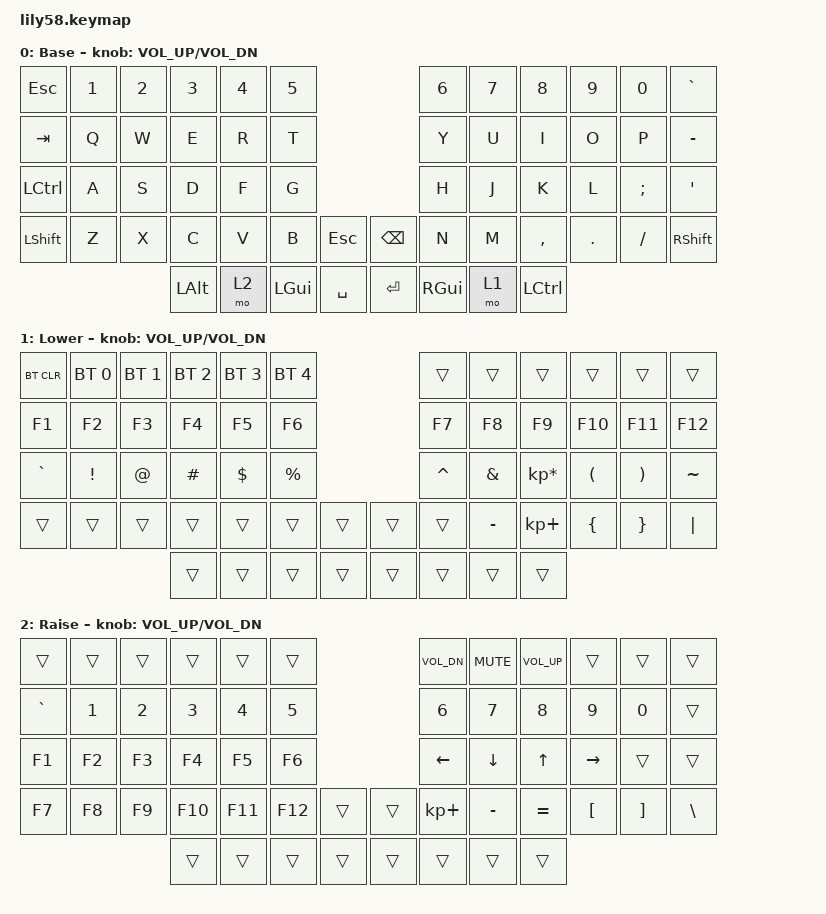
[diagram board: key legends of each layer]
#include <behaviors.dtsi>
#include <dt-bindings/zmk/keys.h>
#include <dt-bindings/zmk/bt.h>
#include <dt-bindings/zmk/ext_power.h> 

/ {
    keymap {
        compatible = "zmk,keymap";

        default_layer {
// ------------------------------------------------------------------------------------------------------------
// |  ESC  |  1  |  2  |  3   |  4   |  5   |                   |  6   |  7    |  8    |  9   |   0   |   `   |
// |  TAB  |  Q  |  W  |  E   |  R   |  T   |                   |  Y   |  U    |  I    |  O   |   P   |   -   |
// |  CTRL |  A  |  S  |  D   |  F   |  G   |                   |  H   |  J    |  K    |  L   |   ;   |   '   |
// | SHIFT |  Z  |  X  |  C   |  V   |  B   |   ESC  |  |  BSPC  |  N   |  M    |  ,    |  .   |   /   | SHIFT |
//                     | ALT  | RAISW  | GUI|  SPACE |  | ENTER | GUI| LOWER  | LCTRL  |
            display-name = "Base";
            bindings = <
&kp ESC   &kp N1 &kp N2 &kp N3   &kp N4   &kp N5                     &kp N6 &kp N7   &kp N8    &kp N9  &kp N0   &kp GRAVE
&kp TAB   &kp Q  &kp W  &kp E    &kp R    &kp T                      &kp Y  &kp U    &kp I     &kp O   &kp P    &kp MINUS
&kp LCTRL &kp A  &kp S  &kp D    &kp F    &kp G                      &kp H  &kp J    &kp K     &kp L   &kp SEMI &kp SQT
&kp LSHFT &kp Z  &kp X  &kp C    &kp V    &kp B  &kp ESC   &kp BSPC &kp N  &kp M    &kp COMMA &kp DOT &kp FSLH &kp RSHFT
                     &kp LALT &mo 2    &kp LGUI  &kp SPACE  &kp RET  &kp RGUI  &mo 1 &kp LCTL
            >;

            sensor-bindings = <&inc_dec_kp C_VOL_UP C_VOL_DN>;
        };

        lower_layer {
// ------------------------------------------------------------------------------------------------------------
// | BTCLR | BT1 | BT2 |  BT3 |  BT4 |  BT5 |                   |      |       |       |      |       |       |
// |  F1   |  F2 |  F3 |  F4  |  F5  |  F6  |                   |  F7  |  F8   |  F9   |  F10 |  F11  |  F12  |
// |   `   |  !  |  @  |  #   |  $   |  %   |                   |  ^   |  &    |  *    |  (   |   )   |   ~   |
// |       |     |     |      |      |      |        |  |       |      |  _    |  +    |  {   |   }   |  "|"  |
//                     |      |      |      |        |  |       |      |       |       |
            display-name = "Lower";
            bindings = <
&bt BT_CLR &bt BT_SEL 0     &bt BT_SEL 1      &bt BT_SEL 2      &bt BT_SEL 3 &bt BT_SEL 4                 &trans    &trans    &trans          &trans    &trans    &trans
&kp F1     &kp F2           &kp F3            &kp F4            &kp F5       &kp F6                       &kp F7    &kp F8    &kp F9          &kp F10   &kp F11   &kp F12
&kp GRAVE  &kp EXCL         &kp AT            &kp HASH          &kp DOLLAR   &kp PRCNT                    &kp CARET &kp AMPS  &kp KP_MULTIPLY &kp LPAR  &kp RPAR  &kp TILDE
&trans     &trans           &trans            &trans            &trans       &trans    &trans   &trans    &trans    &kp MINUS &kp KP_PLUS     &kp LBRC  &kp RBRC  &kp PIPE
                                              &trans            &trans       &trans    &trans   &trans    &trans    &trans    &trans
            >;

            sensor-bindings = <&inc_dec_kp C_VOL_UP C_VOL_DN>;
        };

        raise_layer {
// ------------------------------------------------------------------------------------------------------------
// |       |     |     |      |      |      |                   | vol- |  mute | vol + |      |       |       |
// |   `   |  1  |  2  |  3   |  4   |  5   |                   |  6   |   7   |   8   |  9   |   0   |       |
// |   F1  |  F2 |  F3 |  F4  |  F5  |  F6  |                   |  <   |   V   |   ^   |  >   |       |       |
// |   F7  |  F8 |  F9 |  F10 |  F11 |  F12 |        |  |       |  +   |   -   |   =   |  [   |   ]   |   \   |
//                     |      |      |      |        |  |       |      |       |       |
            display-name = "Raise";
            bindings = <
&trans    &trans &trans &trans  &trans  &trans                       &kp C_VOL_DN &kp K_MUTE &kp C_VOL_UP &trans    &trans &trans
&kp GRAVE &kp N1 &kp N2 &kp N3  &kp N4  &kp N5                       &kp N6       &kp N7     &kp N8       &kp N9    &kp N0 &trans
&kp F1    &kp F2 &kp F3 &kp F4  &kp F5  &kp F6                       &kp LEFT     &kp DOWN   &kp UP       &kp RIGHT &trans &trans
&kp F7    &kp F8 &kp F9 &kp F10 &kp F11 &kp F12   &trans   &trans    &kp KP_PLUS &kp MINUS  &kp EQUAL &kp LBKT  &kp RBKT  &kp BSLH
                        &trans  &trans  &trans    &trans   &trans    &trans      &trans    &trans
            >;

            sensor-bindings = <&inc_dec_kp C_VOL_UP C_VOL_DN>;
        };

        extra_1 {
            status = "reserved";
        };

        extra_2 {
            status = "reserved";
        };

        extra_3 {
            status = "reserved";
        };
    };
};
